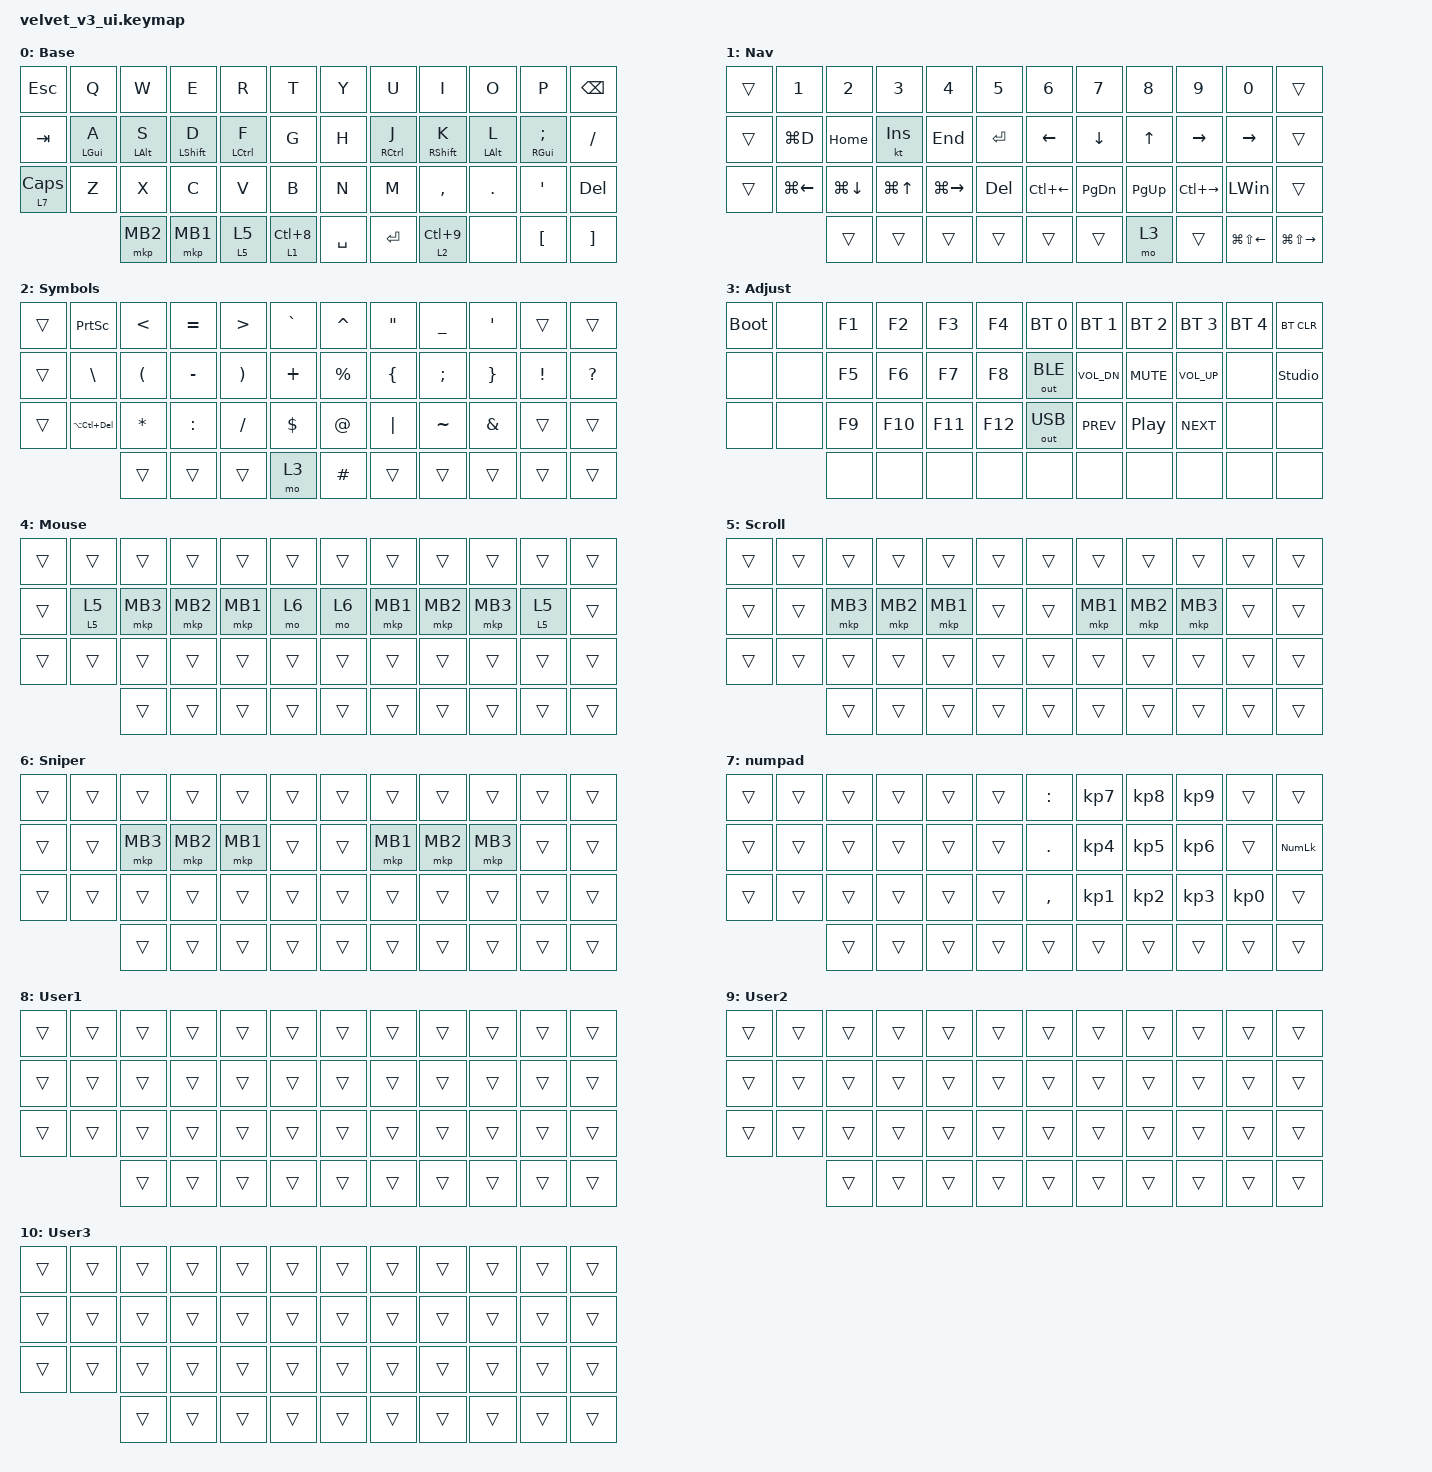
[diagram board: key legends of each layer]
#include "keys_ru.h"
#include <dt-bindings/zmk/input_transform.h>
#include <input/processors.dtsi>
#include <zephyr/dt-bindings/input/input-event-codes.h>
#include <behaviors.dtsi>
#include <dt-bindings/zmk/bt.h>
#include <dt-bindings/zmk/keys.h>
#include <dt-bindings/zmk/outputs.h>
#include <dt-bindings/zmk/pointing.h>

/ {
    behaviors {
        cap_sen: cap_sen {
            compatible = "zmk,behavior-hold-tap";
            label = "CAP_SEN";
            bindings = <&mo>, <&mkp>;

            #binding-cells = <2>;
            tapping-term-ms = <150>;
            hold-while-undecided;
        };

        tball_mode: tball_mode {
            compatible = "zmk,behavior-hold-tap";
            label = "TBALL_MODE";
            bindings = <&mo>, <&tog>;

            #binding-cells = <2>;
            tapping-term-ms = <180>;
            flavor = "tap-preferred";
        };

        stickymouse_behavior: stickymouse_behavior {
            compatible = "zmk,behavior-hold-tap";
            label = "STICKYMOUSE_BEHAVIOR";
            bindings = <&kp>, <&sl>;

            #binding-cells = <2>;
            tapping-term-ms = <150>;
        };

        tap_dance_altgui: tap_dance_altgui {
            compatible = "zmk,behavior-tap-dance";
            label = "TAP_DANCE_ALTGUI";
            #binding-cells = <0>;
            bindings = <&kp LEFT_ALT>, <&kp LEFT_GUI>;
        };

        tap_dance_shiftcaps: tap_dance_shiftcaps {
            compatible = "zmk,behavior-tap-dance";
            label = "TAP_DANCE_SHIFTCAPS";
            #binding-cells = <0>;
            bindings = <&kp LSHFT>, <&kp CAPS>;
        };

        hrm_right: hrm_right {
            compatible = "zmk,behavior-hold-tap";
            label = "HRM_RIGHT";
            bindings = <&kp>, <&kp>;

            #binding-cells = <2>;
            tapping-term-ms = <200>;
            flavor = "tap-preferred";
            quick-tap-ms = <200>;
            require-prior-idle-ms = <125>;
            hold-trigger-key-positions = <5 4 3 2 1 0 12 13 14 15 16 17 29 28 27 26 25 24 36 37 38 39 40>;
            hold-trigger-on-release;
        };

        hrm_left: hrm_left {
            compatible = "zmk,behavior-hold-tap";
            label = "HRM_LEFT";
            bindings = <&kp>, <&kp>;

            #binding-cells = <2>;
            tapping-term-ms = <200>;
            quick-tap-ms = <200>;
            require-prior-idle-ms = <125>;
            flavor = "tap-preferred";
            hold-trigger-key-positions = <6 7 8 9 10 11 23 21 18 19 21 22 23 30 31 32 33 34 35 44 45 20 41 42 43>;
            hold-trigger-on-release;
        };
    };

    combos {
        compatible = "zmk,combos";

        mouse_button_3 {
            bindings = <&mkp MB3>;
            key-positions = <36 37>;
        };

        lbrac {
            bindings = <&kp LEFT_BRACKET>;
            key-positions = <6 7>;
        };

        rbrac {
            bindings = <&kp RIGHT_BRACKET>;
            key-positions = <7 8>;
        };

        pscrn {
            bindings = <&kp PRINTSCREEN>;
            key-positions = <6 7 18 19>;
        };

        ctrlaltdel {
            bindings = <&kp LC(LA(DELETE))>;
            key-positions = <4 5 17 16>;
        };
    };

    keymap {
        compatible = "zmk,keymap";

        base {
            bindings = <
&kp ESC     &kp Q                 &kp W                 &kp E                   &kp R              &kp T                               &kp Y         &kp U               &kp I                &kp O                  &kp P                      &kp BSPC
&kp TAB     &hrm_left LEFT_GUI A  &hrm_left LEFT_ALT S  &hrm_left LEFT_SHIFT D  &hrm_left LCTRL F  &kp G                               &kp H         &hrm_right RCTRL J  &hrm_right RSHIFT K  &hrm_right LEFT_ALT L  &hrm_right RIGHT_GUI SEMI  &kp FSLH
&lt 7 CAPS  &kp Z                 &kp X                 &kp C                   &kp V              &kp B                               &kp N         &kp M               &kp COMMA            &kp DOT                &kp SQT                    &kp DELETE
                                  &mkp MB2              &mkp MB1                &tball_mode 5 5    &lt 1 LC(N8)  &kp SPACE    &kp RET  &lt 2 LC(N9)  &none               &kp LBKT             &kp RBKT
            >;

            display-name = "Base";
        };

        nav {
            bindings = <
&trans  &kp N1        &kp N2        &kp N3      &kp N4         &kp N5                     &kp N6        &kp N7         &kp N8                  &kp N9               &kp N0        &trans
&trans  &kp LG(D)     &kp HOME      &kt INS     &kp END        &kp RET                    &kp LEFT      &kp DOWN       &kp UP                  &kp RIGHT            &kp RIGHT     &trans
&trans  &kp LG(LEFT)  &kp LG(DOWN)  &kp LG(UP)  &kp LG(RIGHT)  &kp DEL                    &kp LC(LEFT)  &kp PAGE_DOWN  &kp PAGE_UP             &kp LC(RIGHT_ARROW)  &kp LEFT_WIN  &trans
                      &trans        &trans      &trans         &trans   &trans    &trans  &mo 3         &trans         &kp LG(LS(LEFT_ARROW))  &kp LG(LS(RIGHT))
            >;

            display-name = "Nav";
        };

        sym {
            bindings = <
&trans  &kp PRINTSCREEN     &kp LT    &kp EQUAL  &kp GT    &kp GRAVE                      &kp CARET  &kp DQT   &kp UNDER  &kp SQT   &trans    &trans
&trans  &kp BSLH            &kp LPAR  &kp MINUS  &kp RPAR  &kp PLUS                       &kp PRCNT  &kp LBRC  &kp SEMI   &kp RBRC  &kp EXCL  &kp QUESTION
&trans  &kp LA(LC(DELETE))  &kp STAR  &kp COLON  &kp FSLH  &kp DLLR                       &kp AT     &kp PIPE  &kp TILDE  &kp AMPS  &trans    &trans
                            &trans    &trans     &trans    &mo 3      &kp HASH    &trans  &trans     &trans    &trans     &trans
            >;

            display-name = "Symbols";
        };

        adj {
            bindings = <
&bootloader  &none  &kp F1  &kp F2   &kp F3   &kp F4                   &bt BT_SEL 0  &bt BT_SEL 1  &bt BT_SEL 2      &bt BT_SEL 3  &bt BT_SEL 4  &bt BT_CLR
&none        &none  &kp F5  &kp F6   &kp F7   &kp F8                   &out OUT_BLE  &kp C_VOL_DN  &kp C_MUTE        &kp C_VOL_UP  &none         &studio_unlock
&none        &none  &kp F9  &kp F10  &kp F11  &kp F12                  &out OUT_USB  &kp C_PREV    &kp C_PLAY_PAUSE  &kp C_NEXT    &none         &none
                    &none   &none    &none    &none    &none    &none  &none         &none         &none             &none
            >;

            display-name = "Adjust";
        };

        mouse {
            bindings = <
&trans  &trans           &trans    &trans    &trans    &trans                    &trans  &trans    &trans    &trans    &trans           &trans
&trans  &tball_mode 5 5  &mkp MB3  &mkp MB2  &mkp MB1  &mo 6                     &mo 6   &mkp MB1  &mkp MB2  &mkp MB3  &tball_mode 5 5  &trans
&trans  &trans           &trans    &trans    &trans    &trans                    &trans  &trans    &trans    &trans    &trans           &trans
                         &trans    &trans    &trans    &trans  &trans    &trans  &trans  &trans    &trans    &trans
            >;

            display-name = "Mouse";
        };

        scroll {
            bindings = <
&trans  &trans  &trans    &trans    &trans    &trans                    &trans  &trans    &trans    &trans    &trans  &trans
&trans  &trans  &mkp MB3  &mkp MB2  &mkp MB1  &trans                    &trans  &mkp MB1  &mkp MB2  &mkp MB3  &trans  &trans
&trans  &trans  &trans    &trans    &trans    &trans                    &trans  &trans    &trans    &trans    &trans  &trans
                &trans    &trans    &trans    &trans  &trans    &trans  &trans  &trans    &trans    &trans
            >;

            display-name = "Scroll";
        };

        sniper {
            bindings = <
&trans  &trans  &trans    &trans    &trans    &trans                    &trans  &trans    &trans    &trans    &trans  &trans
&trans  &trans  &mkp MB3  &mkp MB2  &mkp MB1  &trans                    &trans  &mkp MB1  &mkp MB2  &mkp MB3  &trans  &trans
&trans  &trans  &trans    &trans    &trans    &trans                    &trans  &trans    &trans    &trans    &trans  &trans
                &trans    &trans    &trans    &trans  &trans    &trans  &trans  &trans    &trans    &trans
            >;

            display-name = "Sniper";
        };

        numpad {
            bindings = <
&trans  &trans  &trans  &trans  &trans  &trans                    &kp COLON  &kp KP_NUMBER_7  &kp KP_NUMBER_8  &kp KP_NUMBER_9  &trans           &trans
&trans  &trans  &trans  &trans  &trans  &trans                    &kp DOT    &kp KP_NUMBER_4  &kp KP_NUMBER_5  &kp KP_NUMBER_6  &trans           &kp KP_NUMLOCK
&trans  &trans  &trans  &trans  &trans  &trans                    &kp COMMA  &kp KP_NUMBER_1  &kp KP_NUMBER_2  &kp KP_NUMBER_3  &kp KP_NUMBER_0  &trans
                &trans  &trans  &trans  &trans  &trans    &trans  &trans     &trans           &trans           &trans
            >;

            display-name = "numpad";
        };

        User1 {
            bindings = <
&trans  &trans  &trans  &trans  &trans  &trans                    &trans  &trans  &trans  &trans  &trans  &trans
&trans  &trans  &trans  &trans  &trans  &trans                    &trans  &trans  &trans  &trans  &trans  &trans
&trans  &trans  &trans  &trans  &trans  &trans                    &trans  &trans  &trans  &trans  &trans  &trans
                &trans  &trans  &trans  &trans  &trans    &trans  &trans  &trans  &trans  &trans
            >;

            display-name = "User1";
        };

        User2 {
            bindings = <
&trans  &trans  &trans  &trans  &trans  &trans                    &trans  &trans  &trans  &trans  &trans  &trans
&trans  &trans  &trans  &trans  &trans  &trans                    &trans  &trans  &trans  &trans  &trans  &trans
&trans  &trans  &trans  &trans  &trans  &trans                    &trans  &trans  &trans  &trans  &trans  &trans
                &trans  &trans  &trans  &trans  &trans    &trans  &trans  &trans  &trans  &trans
            >;

            display-name = "User2";
        };

        User3 {
            bindings = <
&trans  &trans  &trans  &trans  &trans  &trans                    &trans  &trans  &trans  &trans  &trans  &trans
&trans  &trans  &trans  &trans  &trans  &trans                    &trans  &trans  &trans  &trans  &trans  &trans
&trans  &trans  &trans  &trans  &trans  &trans                    &trans  &trans  &trans  &trans  &trans  &trans
                &trans  &trans  &trans  &trans  &trans    &trans  &trans  &trans  &trans  &trans
            >;

            display-name = "User3";
        };
    };
};

&trackball { cpi = <1800>; };

&trackball_listener {
    input-processors = <&zip_xy_scaler 9 20>;

    scroller {
        layers = <5>;
        input-processors =
            <&zip_xy_transform INPUT_TRANSFORM_Y_INVERT>,
            <&zip_xy_scaler 1 32>,
            <&zip_xy_to_scroll_mapper>;
    };

    sniper {
        layers = <6>;
        input-processors = <&zip_xy_scaler 1 4>;
    };
};
